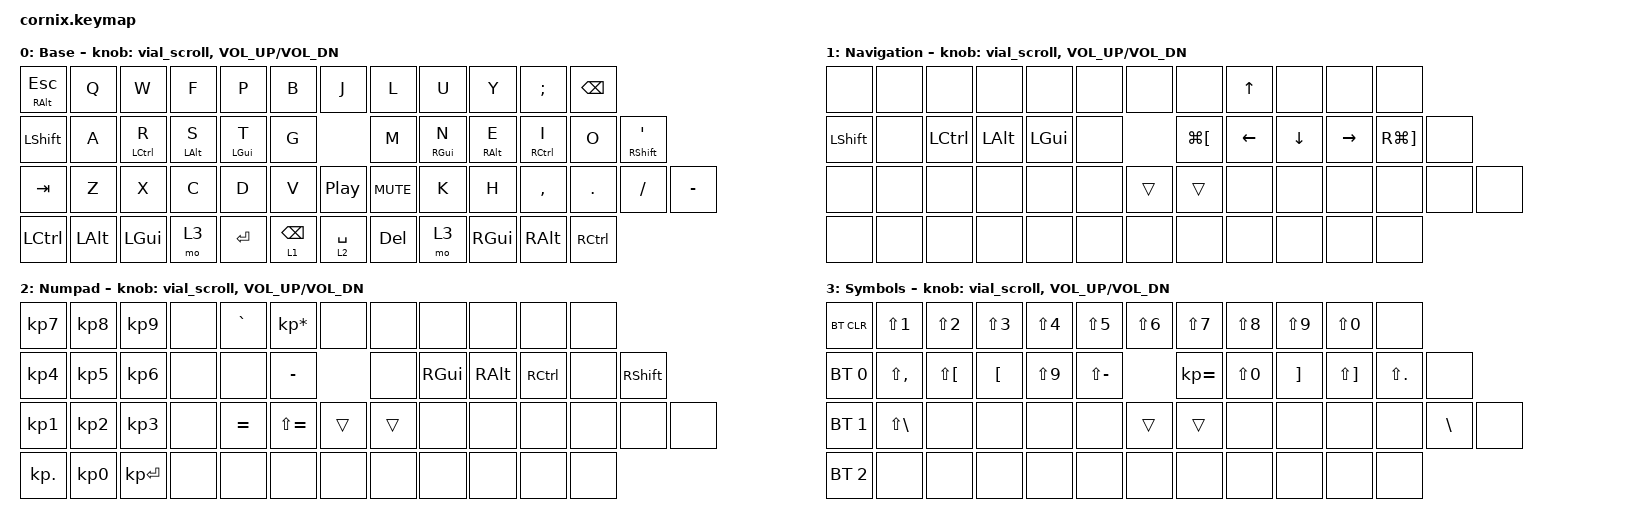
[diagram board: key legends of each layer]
/*
 * Personal keymap converted from cornix.vil.
 * Layer mapping: 0 Base, 1 Navigation, 2 Numpad, 3 Symbols (Vial 5).
 * Unused Vial layers 3, 4, 6, 7, 8, 9 are omitted.
 * Deliberate change: LT4(Delete) becomes plain Delete.
 * USER00/01/02 select BT profiles 0/1/2; USER05 clears the current pairing.
 * Rows are physical left-to-right, including both encoder clicks in row 3.
 */
#include "includes/cornix54.h"
#include <behaviors.dtsi>
#include <dt-bindings/zmk/keys.h>
#include <dt-bindings/zmk/bt.h>
// Encoder pulses last 20 ms: the default 10 units/s never reaches a whole
// wheel step before release clears the fractional remainder.
#define ZMK_POINTING_DEFAULT_SCRL_VAL 100
#include <dt-bindings/zmk/pointing.h>

// Shipped Cornix positional home-row settings.
#define HM_TAPPING_TERM 250
#define HM_TAPPING_TERM_FAST 200
#define HM_PRIOR_IDLE 70
#define KEYS_L LT0 LT1 LT2 LT3 LT4 LT5 LM0 LM1 LM2 LM3 LM4 LM5 LB0 LB1 LB2 LB3 LB4 LB5
#define KEYS_R RT0 RT1 RT2 RT3 RT4 RT5 RM0 RM1 RM2 RM3 RM4 RM5 RB0 RB1 RB2 RB3 RB4 RB5
#define KEYS_T LH1 LH0 RH0 RH1

// Emit a whole wheel unit per 10 ms tick during the encoder pulse.
&msc {
    trigger-period-ms = <10>;
    time-to-max-speed-ms = <0>;
    acceleration-exponent = <0>;
};

// Thumb layer-taps stay tap-preferred, without quick-tap repeat.
&lt {
    flavor = "tap-preferred";
    tapping-term-ms = <250>;
    quick-tap-ms = <0>;
};

/ {
    behaviors {
        hm_l: homerow_mods_left {
            compatible = "zmk,behavior-hold-tap";
            #binding-cells = <2>;
            bindings = <&kp>, <&kp>;

            flavor = "balanced";
            tapping-term-ms = <HM_TAPPING_TERM>;
            quick-tap-ms = <200>;                // repeat on tap-into-hold
            require-prior-idle-ms = <HM_PRIOR_IDLE>;
            hold-trigger-key-positions = <KEYS_R KEYS_T>;
            hold-trigger-on-release;
        };

        hm_r: homerow_mods_right {
            compatible = "zmk,behavior-hold-tap";
            #binding-cells = <2>;
            bindings = <&kp>, <&kp>;

            flavor = "balanced";
            tapping-term-ms = <HM_TAPPING_TERM>;
            quick-tap-ms = <200>;
            require-prior-idle-ms = <HM_PRIOR_IDLE>;
            hold-trigger-key-positions = <KEYS_L KEYS_T>;
            hold-trigger-on-release;
        };

        hm_shift_r: hm_shift_r {
            compatible = "zmk,behavior-hold-tap";
            #binding-cells = <2>;
            bindings = <&kp>, <&kp>;

            flavor = "balanced";
            tapping-term-ms = <HM_TAPPING_TERM_FAST>;
            quick-tap-ms = <200>;
            require-prior-idle-ms = <HM_PRIOR_IDLE>;
            hold-trigger-key-positions = <KEYS_L KEYS_T>;

            // for quick tapping; shift+~

            hold-trigger-on-release;
        };

        vial_scroll: vial_scroll {
            compatible = "zmk,behavior-sensor-rotate";
            #sensor-binding-cells = <0>;
            bindings = <&msc SCRL_DOWN>, <&msc SCRL_UP>;
            tap-ms = <20>;
        };
    };

    keymap {
        compatible = "zmk,keymap";

        base {
            display-name = "Base";
            bindings = <
                &hm_l RALT ESC          &kp Q                 &kp W                 &kp F                 &kp P                 &kp B                 &kp J                 &kp L                 &kp U                 &kp Y                 &kp SEMI              &kp BSPC
                &kp LSHFT             &kp A                 &hm_l LCTRL R           &hm_l LALT S            &hm_l LGUI T            &kp G                 &kp M                 &hm_r RGUI N            &hm_r RALT E            &hm_r RCTRL I           &kp O                 &hm_shift_r RSHFT SQT
                &kp TAB               &kp Z                 &kp X                 &kp C                 &kp D                 &kp V                 &kp C_PLAY_PAUSE      &kp C_MUTE            &kp K                 &kp H                 &kp COMMA             &kp DOT               &kp FSLH              &kp MINUS
                &kp LCTRL             &kp LALT              &kp LGUI              &mo 3                 &kp ENTER             &lt 1 BSPC            &lt 2 SPACE           &kp DEL               &mo 3                 &kp RGUI              &kp RALT              &kp RCTRL
            >;
            sensor-bindings = <&vial_scroll &inc_dec_kp C_VOL_UP C_VOL_DN>;
        };

        navigation {
            display-name = "Navigation";
            bindings = <
                &none                 &none                 &none                 &none                 &none                 &none                 &none                 &none                 &kp UP                &none                 &none                 &none
                &kp LSHFT             &none                 &kp LCTRL             &kp LALT              &kp LGUI              &none                 &kp LG(LBKT)          &kp LEFT              &kp DOWN              &kp RIGHT             &kp RG(RBKT)          &none
                &none                 &none                 &none                 &none                 &none                 &none                 &trans                &trans                &none                 &none                 &none                 &none                 &none                 &none
                &none                 &none                 &none                 &none                 &none                 &none                 &none                 &none                 &none                 &none                 &none                 &none
            >;
            sensor-bindings = <&vial_scroll &inc_dec_kp C_VOL_UP C_VOL_DN>;
        };

        numpad {
            display-name = "Numpad";
            bindings = <
                &kp KP_N7             &kp KP_N8             &kp KP_N9             &none                 &kp GRAVE             &kp KP_MULTIPLY       &none                 &none                 &none                 &none                 &none                 &none
                &kp KP_N4             &kp KP_N5             &kp KP_N6             &none                 &none                 &kp MINUS             &none                 &kp RGUI              &kp RALT              &kp RCTRL             &none                 &kp RSHFT
                &kp KP_N1             &kp KP_N2             &kp KP_N3             &none                 &kp EQUAL             &kp LS(EQUAL)         &trans                &trans                &none                 &none                 &none                 &none                 &none                 &none
                &kp KP_DOT            &kp KP_N0             &kp KP_ENTER          &none                 &none                 &none                 &none                 &none                 &none                 &none                 &none                 &none
            >;
            sensor-bindings = <&vial_scroll &inc_dec_kp C_VOL_UP C_VOL_DN>;
        };

        symbols {
            display-name = "Symbols";
            bindings = <
                &bt BT_CLR            &kp LS(N1)            &kp LS(N2)            &kp LS(N3)            &kp LS(N4)            &kp LS(N5)            &kp LS(N6)            &kp LS(N7)            &kp LS(N8)            &kp LS(N9)            &kp LS(N0)            &none
                &bt BT_SEL 0          &kp LS(COMMA)         &kp LS(LBKT)          &kp LBKT              &kp LS(N9)            &kp LS(MINUS)         &kp KP_EQUAL          &kp LS(N0)            &kp RBKT              &kp LS(RBKT)          &kp LS(DOT)           &none
                &bt BT_SEL 1          &kp LS(BSLH)          &none                 &none                 &none                 &none                 &trans                &trans                &none                 &none                 &none                 &none                 &kp BSLH              &none
                &bt BT_SEL 2          &none                 &none                 &none                 &none                 &none                 &none                 &none                 &none                 &none                 &none                 &none
            >;
            sensor-bindings = <&vial_scroll &inc_dec_kp C_VOL_UP C_VOL_DN>;
        };

    };
};
